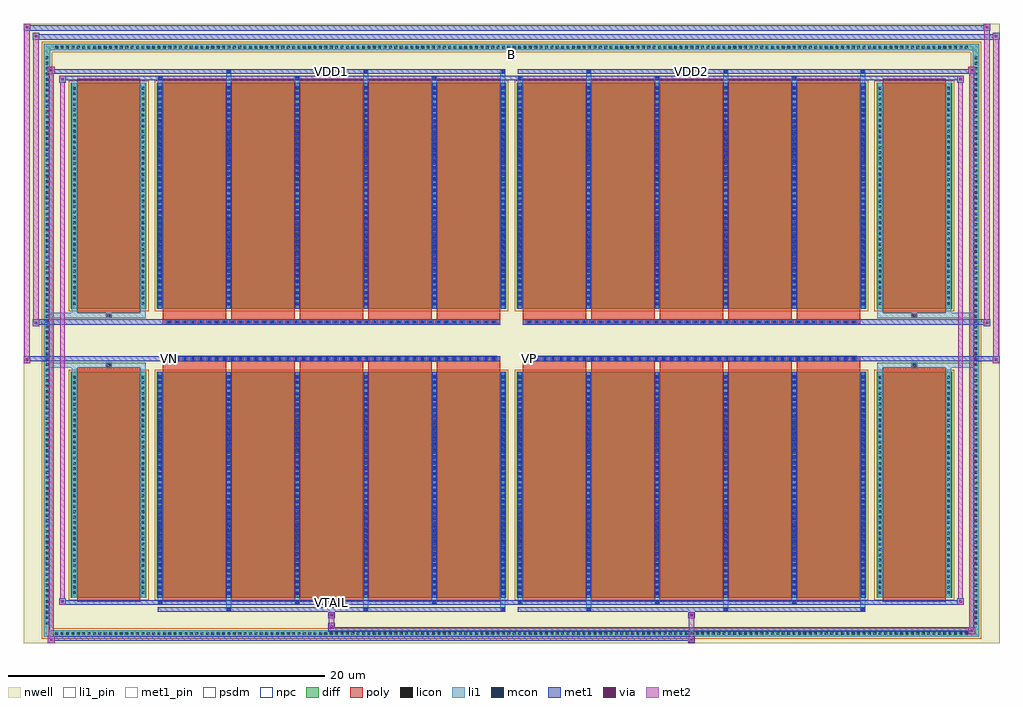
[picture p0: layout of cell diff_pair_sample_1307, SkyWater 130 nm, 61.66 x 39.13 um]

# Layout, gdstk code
import gdstk
lib = gdstk.Library(unit=1e-6, precision=5e-09)
def R(c, l, rs):  # rectangles x0, y0, x1, y1
    for r in rs: c.add(gdstk.rectangle(r[:2], r[2:], *l))
def A(c, l, x, y, w, h, nx, ny, dx, dy):  # array of equal rectangles
    R(c, l, [(x+i*dx, y+j*dy, x+i*dx+w, y+j*dy+h) for i in range(nx) for j in range(ny)])
def P(c, l, *ps):  # polygons
    for p in ps: c.add(gdstk.Polygon(p, *l))
nwell = (64, 20)
diff = (65, 20)
poly = (66, 20)
licon = (66, 44)
li1_pin = (67, 16)
li1 = (67, 20)
mcon = (67, 44)
met1_pin = (68, 16)
met1 = (68, 20)
via = (68, 44)
met2 = (69, 20)
psdm = (94, 20)
npc = (95, 20)

diff_pair_sample_1307 = lib.new_cell('diff_pair_sample_1307')
R(diff_pair_sample_1307, nwell, [(-30.83,-19.13,30.83,20), (-28.15,-17.32,-0.01,-0.8), (0.01,-17.32,28.15,-0.8), (-28.15,0.8,-0.01,17.32), (0.01,0.8,28.15,17.32)])
A(diff_pair_sample_1307, diff, -28.935, -18.73, 0.41, 0.41, 170, 2, 0.34, 37.05)
A(diff_pair_sample_1307, diff, -29.56, -18.055, 0.41, 0.41, 1, 106, 0, 0.34)
A(diff_pair_sample_1307, diff, 29.15, -18.055, 0.41, 0.41, 1, 106, 0, 0.34)
R(diff_pair_sample_1307, diff, [(-28.935,-18.73,28.935,-18.32), (-29.56,-18.055,-29.15,18.055), (29.15,-18.055,29.56,18.055), (-27.84,-16.275,-23.06,-1.985), (-22.42,-16.275,-0.32,-1.985), (0.32,-16.275,22.42,-1.985), (23.06,-16.275,27.84,-1.985), (-27.84,1.985,-23.06,16.275), (-22.42,1.985,-0.32,16.275), (0.32,1.985,22.42,16.275), (23.06,1.985,27.84,16.275), (-28.935,18.32,28.935,18.73)])
P(diff_pair_sample_1307, diff, [(29.56,18.73),(-29.56,18.73),(-29.56,-18.32),(-29.15,-18.32),(-29.15,18.32),(29.15,18.32),(29.15,-18.32),(-29.15,-18.32),(-29.56,-18.32),(-29.56,-18.73),(29.56,-18.73)])
A(diff_pair_sample_1307, poly, -22.03, -16.525, 4, 14.79, 5, 2, 4.33, 18.26)
A(diff_pair_sample_1307, poly, 0.71, -16.525, 4, 14.79, 5, 2, 4.33, 18.26)
A(diff_pair_sample_1307, poly, -22.03, -1.735, 4, 0.405, 5, 2, 4.33, 3.065)
A(diff_pair_sample_1307, poly, 0.71, -1.735, 4, 0.405, 5, 2, 4.33, 3.065)
A(diff_pair_sample_1307, poly, -21.785, -1.33, 0.33, 0.33, 42, 2, 0.5, 2.33)
A(diff_pair_sample_1307, poly, 0.955, -1.33, 0.33, 0.33, 42, 2, 0.5, 2.33)
R(diff_pair_sample_1307, poly, [(-27.45,-16.525,-23.45,-1.735), (23.45,-16.525,27.45,-1.735), (-25.615,-1.735,-25.285,-1.405), (-25.615,-1.735,-25.285,-1.405), (25.285,-1.735,25.615,-1.405), (25.285,-1.735,25.615,-1.405), (-22.03,-1.33,-0.71,-1), (0.71,-1.33,22.03,-1), (-22.03,1,-0.71,1.33), (0.71,1,22.03,1.33), (-25.615,1.405,-25.285,1.735), (-25.615,1.405,-25.285,1.735), (25.285,1.405,25.615,1.735), (25.285,1.405,25.615,1.735), (-27.45,1.735,-23.45,16.525), (23.45,1.735,27.45,16.525)])
A(diff_pair_sample_1307, licon, -28.815, -18.61, 0.17, 0.17, 170, 2, 0.34, 37.05)
A(diff_pair_sample_1307, licon, -29.44, -17.935, 0.17, 0.17, 1, 106, 0, 0.34)
A(diff_pair_sample_1307, licon, 29.27, -17.935, 0.17, 0.17, 1, 106, 0, 0.34)
A(diff_pair_sample_1307, licon, -27.7, -16.015, 0.17, 0.17, 1, 41, 0, 0.34)
A(diff_pair_sample_1307, licon, -23.37, -16.015, 0.17, 0.17, 1, 41, 0, 0.34)
A(diff_pair_sample_1307, licon, -22.28, -16.015, 0.17, 0.17, 6, 41, 4.33, 0.34)
A(diff_pair_sample_1307, licon, 0.46, -16.015, 0.17, 0.17, 6, 41, 4.33, 0.34)
A(diff_pair_sample_1307, licon, 23.2, -16.015, 0.17, 0.17, 1, 41, 0, 0.34)
A(diff_pair_sample_1307, licon, 27.53, -16.015, 0.17, 0.17, 1, 41, 0, 0.34)
A(diff_pair_sample_1307, licon, -21.705, -1.25, 0.17, 0.17, 42, 2, 0.5, 2.33)
A(diff_pair_sample_1307, licon, 1.035, -1.25, 0.17, 0.17, 42, 2, 0.5, 2.33)
A(diff_pair_sample_1307, licon, -27.7, 2.245, 0.17, 0.17, 1, 41, 0, 0.34)
A(diff_pair_sample_1307, licon, -23.37, 2.245, 0.17, 0.17, 1, 41, 0, 0.34)
A(diff_pair_sample_1307, licon, -22.28, 2.245, 0.17, 0.17, 6, 41, 4.33, 0.34)
A(diff_pair_sample_1307, licon, 0.46, 2.245, 0.17, 0.17, 6, 41, 4.33, 0.34)
A(diff_pair_sample_1307, licon, 23.2, 2.245, 0.17, 0.17, 1, 41, 0, 0.34)
A(diff_pair_sample_1307, licon, 27.53, 2.245, 0.17, 0.17, 1, 41, 0, 0.34)
R(diff_pair_sample_1307, licon, [(-25.535,-1.655,-25.365,-1.485), (25.365,-1.655,25.535,-1.485), (-25.535,1.485,-25.365,1.655), (25.365,1.485,25.535,1.655)])
R(diff_pair_sample_1307, li1_pin, [(-0.25,17.82,0.25,18.32)])
A(diff_pair_sample_1307, li1, -28.895, -18.69, 0.33, 0.33, 170, 2, 0.34, 37.05)
A(diff_pair_sample_1307, li1, -29.52, -18.015, 0.33, 0.33, 1, 106, 0, 0.34)
A(diff_pair_sample_1307, li1, 29.19, -18.015, 0.33, 0.33, 1, 106, 0, 0.34)
A(diff_pair_sample_1307, li1, -18.03, -17.08, 0.33, 0.805, 3, 2, 8.66, 33.355)
A(diff_pair_sample_1307, li1, -17.95, -17.08, 0.17, 0.17, 3, 2, 8.66, 33.99)
A(diff_pair_sample_1307, li1, 4.71, -17.08, 0.33, 0.805, 3, 2, 8.66, 33.355)
A(diff_pair_sample_1307, li1, 4.79, -17.08, 0.17, 0.17, 3, 2, 8.66, 33.99)
A(diff_pair_sample_1307, li1, -22.36, -16.65, 0.33, 0.375, 3, 2, 8.66, 32.925)
A(diff_pair_sample_1307, li1, -22.28, -16.65, 0.17, 0.17, 3, 2, 8.66, 33.13)
A(diff_pair_sample_1307, li1, 0.38, -16.65, 0.33, 0.375, 3, 2, 8.66, 32.925)
A(diff_pair_sample_1307, li1, 0.46, -16.65, 0.17, 0.17, 3, 2, 8.66, 33.13)
A(diff_pair_sample_1307, li1, -22.36, -16.275, 0.33, 14.29, 6, 2, 4.33, 18.26)
A(diff_pair_sample_1307, li1, 0.38, -16.275, 0.33, 14.29, 6, 2, 4.33, 18.26)
A(diff_pair_sample_1307, li1, -27.78, -16.095, 0.33, 0.33, 1, 41, 0, 0.34)
A(diff_pair_sample_1307, li1, -23.45, -16.095, 0.33, 0.33, 1, 41, 0, 0.34)
A(diff_pair_sample_1307, li1, -22.36, -16.095, 0.33, 0.33, 6, 41, 4.33, 0.34)
A(diff_pair_sample_1307, li1, 0.38, -16.095, 0.33, 0.33, 6, 41, 4.33, 0.34)
A(diff_pair_sample_1307, li1, 23.12, -16.095, 0.33, 0.33, 1, 41, 0, 0.34)
A(diff_pair_sample_1307, li1, 27.45, -16.095, 0.33, 0.33, 1, 41, 0, 0.34)
A(diff_pair_sample_1307, li1, -22.28, -16.055, 0.17, 0.17, 6, 39, 4.33, 0.36)
A(diff_pair_sample_1307, li1, -22.28, -16.055, 0.17, 13.85, 6, 2, 4.33, 18.26)
A(diff_pair_sample_1307, li1, 0.46, -16.055, 0.17, 0.17, 6, 39, 4.33, 0.36)
A(diff_pair_sample_1307, li1, 0.46, -16.055, 0.17, 13.85, 6, 2, 4.33, 18.26)
A(diff_pair_sample_1307, li1, -21.785, -1.33, 0.33, 0.33, 42, 2, 0.5, 2.33)
A(diff_pair_sample_1307, li1, 0.955, -1.33, 0.33, 0.33, 42, 2, 0.5, 2.33)
A(diff_pair_sample_1307, li1, -27.78, 2.165, 0.33, 0.33, 1, 41, 0, 0.34)
A(diff_pair_sample_1307, li1, -23.45, 2.165, 0.33, 0.33, 1, 41, 0, 0.34)
A(diff_pair_sample_1307, li1, -22.36, 2.165, 0.33, 0.33, 6, 41, 4.33, 0.34)
A(diff_pair_sample_1307, li1, 0.38, 2.165, 0.33, 0.33, 6, 41, 4.33, 0.34)
A(diff_pair_sample_1307, li1, 23.12, 2.165, 0.33, 0.33, 1, 41, 0, 0.34)
A(diff_pair_sample_1307, li1, 27.45, 2.165, 0.33, 0.33, 1, 41, 0, 0.34)
A(diff_pair_sample_1307, li1, -22.28, 2.205, 0.17, 0.17, 6, 39, 4.33, 0.36)
A(diff_pair_sample_1307, li1, 0.46, 2.205, 0.17, 0.17, 6, 39, 4.33, 0.36)
R(diff_pair_sample_1307, li1, [(-29.56,-18.73,-29.15,-18.32), (-29.56,-18.73,-29.15,-18.32), (-29.15,-18.73,29.15,-18.32), (29.15,-18.73,29.56,-18.32), (29.15,-18.73,29.56,-18.32), (-29.56,-18.32,-29.15,18.32), (29.15,-18.32,29.56,18.32), (-27.78,-16.275,-27.45,-1.985), (-23.45,-16.275,-23.12,-1.985), (23.12,-16.275,23.45,-1.985), (27.45,-16.275,27.78,-1.985), (-27.78,-1.985,-27.45,-1.405), (-23.45,-1.985,-23.12,-1.405), (23.12,-1.985,23.45,-1.405), (27.45,-1.985,27.78,-1.405), (-29.56,-1.735,-25.615,-1.405), (-27.78,-1.735,-25.615,-1.405), (-25.615,-1.735,-25.285,-1.405), (-25.285,-1.735,-23.12,-1.405), (23.12,-1.735,25.285,-1.405), (25.285,-1.735,25.615,-1.405), (25.285,-1.735,29.56,-1.405), (25.615,-1.735,27.78,-1.405), (-29.56,1.405,-25.615,1.735), (-27.78,1.405,-25.615,1.735), (-27.78,1.405,-27.45,1.985), (-25.615,1.405,-25.285,1.735), (-25.285,1.405,-23.12,1.735), (-23.45,1.405,-23.12,1.985), (23.12,1.405,25.285,1.735), (23.12,1.405,23.45,1.985), (25.285,1.405,25.615,1.735), (25.285,1.405,29.56,1.735), (25.615,1.405,27.78,1.735), (27.45,1.405,27.78,1.985), (-27.78,1.985,-27.45,16.275), (-23.45,1.985,-23.12,16.275), (23.12,1.985,23.45,16.275), (27.45,1.985,27.78,16.275), (-29.56,18.32,-29.15,18.73), (-29.56,18.32,-29.15,18.73), (-29.15,18.32,29.15,18.73), (29.15,18.32,29.56,18.73), (29.15,18.32,29.56,18.73)])
A(diff_pair_sample_1307, mcon, -17.95, -17.08, 0.17, 0.17, 3, 2, 8.66, 33.99)
A(diff_pair_sample_1307, mcon, 4.79, -17.08, 0.17, 0.17, 3, 2, 8.66, 33.99)
A(diff_pair_sample_1307, mcon, -22.28, -16.65, 0.17, 0.17, 3, 2, 8.66, 33.13)
A(diff_pair_sample_1307, mcon, 0.46, -16.65, 0.17, 0.17, 3, 2, 8.66, 33.13)
A(diff_pair_sample_1307, mcon, -22.28, -16.055, 0.17, 0.17, 6, 39, 4.33, 0.36)
A(diff_pair_sample_1307, mcon, 0.46, -16.055, 0.17, 0.17, 6, 39, 4.33, 0.36)
A(diff_pair_sample_1307, mcon, -21.705, -1.25, 0.17, 0.17, 42, 2, 0.5, 2.33)
A(diff_pair_sample_1307, mcon, 1.035, -1.25, 0.17, 0.17, 42, 2, 0.5, 2.33)
A(diff_pair_sample_1307, mcon, -22.28, 2.205, 0.17, 0.17, 6, 39, 4.33, 0.36)
A(diff_pair_sample_1307, mcon, 0.46, 2.205, 0.17, 0.17, 6, 39, 4.33, 0.36)
R(diff_pair_sample_1307, met1_pin, [(-11.505,-16.69,-11.235,-16.42), (-21.755,-1.29,-21.485,-1.02), (0.985,-1.29,1.255,-1.02), (-11.505,16.87,-11.235,17.14), (11.235,16.87,11.505,17.14)])
A(diff_pair_sample_1307, met1, -18.01, -17.14, 0.29, 0.29, 3, 2, 8.66, 33.99)
A(diff_pair_sample_1307, met1, 4.73, -17.14, 0.29, 0.29, 3, 2, 8.66, 33.99)
A(diff_pair_sample_1307, met1, -22.34, -16.71, 0.29, 0.29, 3, 2, 8.66, 33.13)
A(diff_pair_sample_1307, met1, 0.4, -16.71, 0.29, 0.29, 3, 2, 8.66, 33.13)
A(diff_pair_sample_1307, met1, -22.34, -16.275, 0.29, 14.29, 6, 2, 4.33, 18.26)
A(diff_pair_sample_1307, met1, 0.4, -16.275, 0.29, 14.29, 6, 2, 4.33, 18.26)
A(diff_pair_sample_1307, met1, -22.34, -16.115, 0.29, 0.29, 6, 39, 4.33, 0.36)
A(diff_pair_sample_1307, met1, 0.4, -16.115, 0.29, 0.29, 6, 39, 4.33, 0.36)
A(diff_pair_sample_1307, met1, -21.765, -1.31, 0.29, 0.29, 42, 2, 0.5, 2.33)
A(diff_pair_sample_1307, met1, 0.975, -1.31, 0.29, 0.29, 42, 2, 0.5, 2.33)
A(diff_pair_sample_1307, met1, -22.34, 2.145, 0.29, 0.29, 6, 39, 4.33, 0.36)
A(diff_pair_sample_1307, met1, 0.4, 2.145, 0.29, 0.29, 6, 39, 4.33, 0.36)
R(diff_pair_sample_1307, met1, [(-29.29,-19.13,-28.86,-18.7), (11.155,-19.13,11.585,-18.7), (-29.29,-18.99,11.585,-18.7), (28.86,-18.56,29.29,-18.13), (-11.585,-18.42,29.29,-18.13), (-11.585,-18.28,-11.155,-17.85), (-11.585,-17.57,-11.155,-17.14), (11.155,-17.57,11.585,-17.14), (-22.34,-17.14,-0.4,-16.85), (0.4,-17.14,22.34,-16.85), (-28.58,-16.71,-28.15,-16.28), (-28.58,-16.71,-22.34,-16.42), (-22.34,-16.71,-0.4,-16.42), (-0.4,-16.71,0.4,-16.42), (0.4,-16.71,22.34,-16.42), (22.34,-16.71,28.58,-16.42), (28.15,-16.71,28.58,-16.28), (-30.83,-1.43,-30.4,-1), (30.4,-1.43,30.83,-1), (-30.83,-1.33,-0.71,-1), (-22.03,-1.33,-0.71,-1), (0.71,-1.33,22.03,-1), (0.71,-1.33,30.83,-1), (-30.26,0.9,-29.83,1.33), (29.83,0.9,30.26,1.33), (-30.26,1,-22.03,1.33), (-22.03,1,-0.71,1.33), (0.71,1,22.03,1.33), (22.03,1,30.26,1.33), (-28.58,16.28,-28.15,16.71), (28.15,16.28,28.58,16.71), (-28.58,16.42,-22.34,16.71), (-22.34,16.42,-0.4,16.71), (-0.4,16.42,0.4,16.71), (0.4,16.42,22.34,16.71), (22.34,16.42,28.58,16.71), (-29.29,16.85,-28.86,17.28), (-29.29,16.85,-22.34,17.14), (-22.34,16.85,-0.4,17.14), (0.4,16.85,22.34,17.14), (22.34,16.85,29.29,17.14), (28.86,16.85,29.29,17.28), (-30.26,19,-29.83,19.43), (-30.26,19,-28.15,19.33), (-28.15,19,28.15,19.33), (28.15,19,30.83,19.33), (30.4,19,30.83,19.43), (-30.83,19.57,-30.4,20), (-30.83,19.57,-28.15,19.9), (-28.15,19.57,28.15,19.9), (28.15,19.57,30.26,19.9), (29.83,19.57,30.26,20)])
R(diff_pair_sample_1307, via, [(-29.15,-18.99,-29,-18.84), (11.295,-18.99,11.445,-18.84), (29,-18.42,29.15,-18.27), (-11.445,-18.14,-11.295,-17.99), (-11.445,-17.43,-11.295,-17.28), (11.295,-17.43,11.445,-17.28), (-28.44,-16.57,-28.29,-16.42), (28.29,-16.57,28.44,-16.42), (-30.69,-1.29,-30.54,-1.14), (30.54,-1.29,30.69,-1.14), (-30.12,1.04,-29.97,1.19), (29.97,1.04,30.12,1.19), (-28.44,16.42,-28.29,16.57), (28.29,16.42,28.44,16.57), (-29.15,16.99,-29,17.14), (29,16.99,29.15,17.14), (-30.12,19.14,-29.97,19.29), (30.54,19.14,30.69,19.29), (-30.69,19.71,-30.54,19.86), (29.97,19.71,30.12,19.86)])
R(diff_pair_sample_1307, met2, [(-29.29,-19.13,-28.86,-18.7), (-29.22,-19.13,-28.93,17.28), (-28.93,-19.13,-28.86,-18.7), (-29.24,-19.08,-28.91,-18.75), (11.205,-19.08,11.535,-18.75), (11.205,-18.75,11.535,-17.52), (28.86,-18.56,29.29,-18.13), (28.93,-18.56,29.22,17.28), (29.22,-18.56,29.29,-18.13), (28.91,-18.51,29.24,-18.18), (-11.535,-18.23,-11.205,-17.9), (-11.535,-17.9,-11.205,-17.52), (-11.535,-17.52,-11.205,-17.19), (11.205,-17.52,11.535,-17.19), (-28.58,-16.71,-28.15,-16.28), (-28.51,-16.71,-28.22,16.71), (-28.22,-16.71,-28.15,-16.28), (28.15,-16.71,28.58,-16.28), (28.22,-16.71,28.51,16.71), (28.51,-16.71,28.58,-16.28), (-28.53,-16.66,-28.2,-16.33), (28.2,-16.66,28.53,-16.33), (-30.83,-1.43,-30.4,-1), (-30.78,-1.43,-30.45,20), (-30.45,-1.43,-30.4,-1), (30.4,-1.43,30.83,-1), (30.45,-1.43,30.78,19.43), (30.78,-1.43,30.83,-1), (-30.78,-1.38,-30.45,-1.05), (30.45,-1.38,30.78,-1.05), (-30.26,0.9,-29.83,1.33), (-30.21,0.9,-29.88,19.43), (-29.88,0.9,-29.83,1.33), (29.83,0.9,30.26,1.33), (29.88,0.9,30.21,20), (30.21,0.9,30.26,1.33), (-30.21,0.95,-29.88,1.28), (29.88,0.95,30.21,1.28), (-28.58,16.28,-28.15,16.71), (-28.22,16.28,-28.15,16.71), (28.15,16.28,28.58,16.71), (28.51,16.28,28.58,16.71), (-28.53,16.33,-28.2,16.66), (28.2,16.33,28.53,16.66), (-29.29,16.85,-28.86,17.28), (-28.93,16.85,-28.86,17.28), (28.86,16.85,29.29,17.28), (29.22,16.85,29.29,17.28), (-29.24,16.9,-28.91,17.23), (28.91,16.9,29.24,17.23), (-30.26,19,-29.83,19.43), (-29.88,19,-29.83,19.43), (30.4,19,30.83,19.43), (30.78,19,30.83,19.43), (-30.21,19.05,-29.88,19.38), (30.45,19.05,30.78,19.38), (-30.83,19.57,-30.4,20), (-30.45,19.57,-30.4,20), (29.83,19.57,30.26,20), (30.21,19.57,30.26,20), (-30.78,19.62,-30.45,19.95), (29.88,19.62,30.21,19.95)])
R(diff_pair_sample_1307, psdm, [(-27.97,-16.405,-22.93,-1.855), (-22.55,-16.405,-0.19,-1.855), (0.19,-16.405,22.55,-1.855), (22.93,-16.405,27.97,-1.855), (-27.97,1.855,-22.93,16.405), (-22.55,1.855,-0.19,16.405), (0.19,1.855,22.55,16.405), (22.93,1.855,27.97,16.405)])
P(diff_pair_sample_1307, psdm, [(29.69,18.86),(-29.69,18.86),(-29.69,-18.19),(-29.02,-18.19),(-29.02,18.19),(29.02,18.19),(29.02,-18.19),(-29.02,-18.19),(-29.69,-18.19),(-29.69,-18.86),(29.69,-18.86)])
A(diff_pair_sample_1307, npc, -21.805, -1.35, 0.37, 0.37, 42, 2, 0.5, 2.33)
A(diff_pair_sample_1307, npc, 0.935, -1.35, 0.37, 0.37, 42, 2, 0.5, 2.33)
R(diff_pair_sample_1307, npc, [(-25.635,-1.755,-25.265,-1.385), (25.265,-1.755,25.635,-1.385), (-21.805,-1.35,-20.935,-0.98), (-21.805,-1.35,-20.935,-0.98), (-21.305,-1.35,-20.435,-0.98), (-21.305,-1.35,-20.435,-0.98), (-20.805,-1.35,-19.935,-0.98), (-20.805,-1.35,-19.935,-0.98), (-20.305,-1.35,-19.435,-0.98), (-20.305,-1.35,-19.435,-0.98), (-19.805,-1.35,-18.935,-0.98), (-19.805,-1.35,-18.935,-0.98), (-19.305,-1.35,-18.435,-0.98), (-19.305,-1.35,-18.435,-0.98), (-18.805,-1.35,-17.935,-0.98), (-18.805,-1.35,-17.935,-0.98), (-18.305,-1.35,-17.435,-0.98), (-18.305,-1.35,-17.435,-0.98), (-17.805,-1.35,-16.935,-0.98), (-17.805,-1.35,-16.935,-0.98), (-17.305,-1.35,-16.435,-0.98), (-17.305,-1.35,-16.435,-0.98), (-16.805,-1.35,-15.935,-0.98), (-16.805,-1.35,-15.935,-0.98), (-16.305,-1.35,-15.435,-0.98), (-16.305,-1.35,-15.435,-0.98), (-15.805,-1.35,-14.935,-0.98), (-15.805,-1.35,-14.935,-0.98), (-15.305,-1.35,-14.435,-0.98), (-15.305,-1.35,-14.435,-0.98), (-14.805,-1.35,-13.935,-0.98), (-14.805,-1.35,-13.935,-0.98), (-14.305,-1.35,-13.435,-0.98), (-14.305,-1.35,-13.435,-0.98), (-13.805,-1.35,-12.935,-0.98), (-13.805,-1.35,-12.935,-0.98), (-13.305,-1.35,-12.435,-0.98), (-13.305,-1.35,-12.435,-0.98), (-12.805,-1.35,-11.935,-0.98), (-12.805,-1.35,-11.935,-0.98), (-12.305,-1.35,-11.435,-0.98), (-12.305,-1.35,-11.435,-0.98), (-11.805,-1.35,-10.935,-0.98), (-11.805,-1.35,-10.935,-0.98), (-11.305,-1.35,-10.435,-0.98), (-11.305,-1.35,-10.435,-0.98), (-10.805,-1.35,-9.935,-0.98), (-10.805,-1.35,-9.935,-0.98), (-10.305,-1.35,-9.435,-0.98), (-10.305,-1.35,-9.435,-0.98), (-9.805,-1.35,-8.935,-0.98), (-9.805,-1.35,-8.935,-0.98), (-9.305,-1.35,-8.435,-0.98), (-9.305,-1.35,-8.435,-0.98), (-8.805,-1.35,-7.935,-0.98), (-8.805,-1.35,-7.935,-0.98), (-8.305,-1.35,-7.435,-0.98), (-8.305,-1.35,-7.435,-0.98), (-7.805,-1.35,-6.935,-0.98), (-7.805,-1.35,-6.935,-0.98), (-7.305,-1.35,-6.435,-0.98), (-7.305,-1.35,-6.435,-0.98), (-6.805,-1.35,-5.935,-0.98), (-6.805,-1.35,-5.935,-0.98), (-6.305,-1.35,-5.435,-0.98), (-6.305,-1.35,-5.435,-0.98), (-5.805,-1.35,-4.935,-0.98), (-5.805,-1.35,-4.935,-0.98), (-5.305,-1.35,-4.435,-0.98), (-5.305,-1.35,-4.435,-0.98), (-4.805,-1.35,-3.935,-0.98), (-4.805,-1.35,-3.935,-0.98), (-4.305,-1.35,-3.435,-0.98), (-4.305,-1.35,-3.435,-0.98), (-3.805,-1.35,-2.935,-0.98), (-3.805,-1.35,-2.935,-0.98), (-3.305,-1.35,-2.435,-0.98), (-3.305,-1.35,-2.435,-0.98), (-2.805,-1.35,-1.935,-0.98), (-2.805,-1.35,-1.935,-0.98), (-2.305,-1.35,-1.435,-0.98), (-2.305,-1.35,-1.435,-0.98), (-1.805,-1.35,-0.935,-0.98), (-1.805,-1.35,-0.935,-0.98), (0.935,-1.35,1.805,-0.98), (0.935,-1.35,1.805,-0.98), (1.435,-1.35,2.305,-0.98), (1.435,-1.35,2.305,-0.98), (1.935,-1.35,2.805,-0.98), (1.935,-1.35,2.805,-0.98), (2.435,-1.35,3.305,-0.98), (2.435,-1.35,3.305,-0.98), (2.935,-1.35,3.805,-0.98), (2.935,-1.35,3.805,-0.98), (3.435,-1.35,4.305,-0.98), (3.435,-1.35,4.305,-0.98), (3.935,-1.35,4.805,-0.98), (3.935,-1.35,4.805,-0.98), (4.435,-1.35,5.305,-0.98), (4.435,-1.35,5.305,-0.98), (4.935,-1.35,5.805,-0.98), (4.935,-1.35,5.805,-0.98), (5.435,-1.35,6.305,-0.98), (5.435,-1.35,6.305,-0.98), (5.935,-1.35,6.805,-0.98), (5.935,-1.35,6.805,-0.98), (6.435,-1.35,7.305,-0.98), (6.435,-1.35,7.305,-0.98), (6.935,-1.35,7.805,-0.98), (6.935,-1.35,7.805,-0.98), (7.435,-1.35,8.305,-0.98), (7.435,-1.35,8.305,-0.98), (7.935,-1.35,8.805,-0.98), (7.935,-1.35,8.805,-0.98), (8.435,-1.35,9.305,-0.98), (8.435,-1.35,9.305,-0.98), (8.935,-1.35,9.805,-0.98), (8.935,-1.35,9.805,-0.98), (9.435,-1.35,10.305,-0.98), (9.435,-1.35,10.305,-0.98), (9.935,-1.35,10.805,-0.98), (9.935,-1.35,10.805,-0.98), (10.435,-1.35,11.305,-0.98), (10.435,-1.35,11.305,-0.98), (10.935,-1.35,11.805,-0.98), (10.935,-1.35,11.805,-0.98), (11.435,-1.35,12.305,-0.98), (11.435,-1.35,12.305,-0.98), (11.935,-1.35,12.805,-0.98), (11.935,-1.35,12.805,-0.98), (12.435,-1.35,13.305,-0.98), (12.435,-1.35,13.305,-0.98), (12.935,-1.35,13.805,-0.98), (12.935,-1.35,13.805,-0.98), (13.435,-1.35,14.305,-0.98), (13.435,-1.35,14.305,-0.98), (13.935,-1.35,14.805,-0.98), (13.935,-1.35,14.805,-0.98), (14.435,-1.35,15.305,-0.98), (14.435,-1.35,15.305,-0.98), (14.935,-1.35,15.805,-0.98), (14.935,-1.35,15.805,-0.98), (15.435,-1.35,16.305,-0.98), (15.435,-1.35,16.305,-0.98), (15.935,-1.35,16.805,-0.98), (15.935,-1.35,16.805,-0.98), (16.435,-1.35,17.305,-0.98), (16.435,-1.35,17.305,-0.98), (16.935,-1.35,17.805,-0.98), (16.935,-1.35,17.805,-0.98), (17.435,-1.35,18.305,-0.98), (17.435,-1.35,18.305,-0.98), (17.935,-1.35,18.805,-0.98), (17.935,-1.35,18.805,-0.98), (18.435,-1.35,19.305,-0.98), (18.435,-1.35,19.305,-0.98), (18.935,-1.35,19.805,-0.98), (18.935,-1.35,19.805,-0.98), (19.435,-1.35,20.305,-0.98), (19.435,-1.35,20.305,-0.98), (19.935,-1.35,20.805,-0.98), (19.935,-1.35,20.805,-0.98), (20.435,-1.35,21.305,-0.98), (20.435,-1.35,21.305,-0.98), (20.935,-1.35,21.805,-0.98), (20.935,-1.35,21.805,-0.98), (-21.805,0.98,-20.935,1.35), (-21.805,0.98,-20.935,1.35), (-21.305,0.98,-20.435,1.35), (-21.305,0.98,-20.435,1.35), (-20.805,0.98,-19.935,1.35), (-20.805,0.98,-19.935,1.35), (-20.305,0.98,-19.435,1.35), (-20.305,0.98,-19.435,1.35), (-19.805,0.98,-18.935,1.35), (-19.805,0.98,-18.935,1.35), (-19.305,0.98,-18.435,1.35), (-19.305,0.98,-18.435,1.35), (-18.805,0.98,-17.935,1.35), (-18.805,0.98,-17.935,1.35), (-18.305,0.98,-17.435,1.35), (-18.305,0.98,-17.435,1.35), (-17.805,0.98,-16.935,1.35), (-17.805,0.98,-16.935,1.35), (-17.305,0.98,-16.435,1.35), (-17.305,0.98,-16.435,1.35), (-16.805,0.98,-15.935,1.35), (-16.805,0.98,-15.935,1.35), (-16.305,0.98,-15.435,1.35), (-16.305,0.98,-15.435,1.35), (-15.805,0.98,-14.935,1.35), (-15.805,0.98,-14.935,1.35), (-15.305,0.98,-14.435,1.35), (-15.305,0.98,-14.435,1.35), (-14.805,0.98,-13.935,1.35), (-14.805,0.98,-13.935,1.35), (-14.305,0.98,-13.435,1.35), (-14.305,0.98,-13.435,1.35), (-13.805,0.98,-12.935,1.35), (-13.805,0.98,-12.935,1.35), (-13.305,0.98,-12.435,1.35), (-13.305,0.98,-12.435,1.35), (-12.805,0.98,-11.935,1.35), (-12.805,0.98,-11.935,1.35), (-12.305,0.98,-11.435,1.35), (-12.305,0.98,-11.435,1.35), (-11.805,0.98,-10.935,1.35), (-11.805,0.98,-10.935,1.35), (-11.305,0.98,-10.435,1.35), (-11.305,0.98,-10.435,1.35), (-10.805,0.98,-9.935,1.35), (-10.805,0.98,-9.935,1.35), (-10.305,0.98,-9.435,1.35), (-10.305,0.98,-9.435,1.35), (-9.805,0.98,-8.935,1.35), (-9.805,0.98,-8.935,1.35), (-9.305,0.98,-8.435,1.35), (-9.305,0.98,-8.435,1.35), (-8.805,0.98,-7.935,1.35), (-8.805,0.98,-7.935,1.35), (-8.305,0.98,-7.435,1.35), (-8.305,0.98,-7.435,1.35), (-7.805,0.98,-6.935,1.35), (-7.805,0.98,-6.935,1.35), (-7.305,0.98,-6.435,1.35), (-7.305,0.98,-6.435,1.35), (-6.805,0.98,-5.935,1.35), (-6.805,0.98,-5.935,1.35), (-6.305,0.98,-5.435,1.35), (-6.305,0.98,-5.435,1.35), (-5.805,0.98,-4.935,1.35), (-5.805,0.98,-4.935,1.35), (-5.305,0.98,-4.435,1.35), (-5.305,0.98,-4.435,1.35), (-4.805,0.98,-3.935,1.35), (-4.805,0.98,-3.935,1.35), (-4.305,0.98,-3.435,1.35), (-4.305,0.98,-3.435,1.35), (-3.805,0.98,-2.935,1.35), (-3.805,0.98,-2.935,1.35), (-3.305,0.98,-2.435,1.35), (-3.305,0.98,-2.435,1.35), (-2.805,0.98,-1.935,1.35), (-2.805,0.98,-1.935,1.35), (-2.305,0.98,-1.435,1.35), (-2.305,0.98,-1.435,1.35), (-1.805,0.98,-0.935,1.35), (-1.805,0.98,-0.935,1.35), (0.935,0.98,1.805,1.35), (0.935,0.98,1.805,1.35), (1.435,0.98,2.305,1.35), (1.435,0.98,2.305,1.35), (1.935,0.98,2.805,1.35), (1.935,0.98,2.805,1.35), (2.435,0.98,3.305,1.35), (2.435,0.98,3.305,1.35), (2.935,0.98,3.805,1.35), (2.935,0.98,3.805,1.35), (3.435,0.98,4.305,1.35), (3.435,0.98,4.305,1.35), (3.935,0.98,4.805,1.35), (3.935,0.98,4.805,1.35), (4.435,0.98,5.305,1.35), (4.435,0.98,5.305,1.35), (4.935,0.98,5.805,1.35), (4.935,0.98,5.805,1.35), (5.435,0.98,6.305,1.35), (5.435,0.98,6.305,1.35), (5.935,0.98,6.805,1.35), (5.935,0.98,6.805,1.35), (6.435,0.98,7.305,1.35), (6.435,0.98,7.305,1.35), (6.935,0.98,7.805,1.35), (6.935,0.98,7.805,1.35), (7.435,0.98,8.305,1.35), (7.435,0.98,8.305,1.35), (7.935,0.98,8.805,1.35), (7.935,0.98,8.805,1.35), (8.435,0.98,9.305,1.35), (8.435,0.98,9.305,1.35), (8.935,0.98,9.805,1.35), (8.935,0.98,9.805,1.35), (9.435,0.98,10.305,1.35), (9.435,0.98,10.305,1.35), (9.935,0.98,10.805,1.35), (9.935,0.98,10.805,1.35), (10.435,0.98,11.305,1.35), (10.435,0.98,11.305,1.35), (10.935,0.98,11.805,1.35), (10.935,0.98,11.805,1.35), (11.435,0.98,12.305,1.35), (11.435,0.98,12.305,1.35), (11.935,0.98,12.805,1.35), (11.935,0.98,12.805,1.35), (12.435,0.98,13.305,1.35), (12.435,0.98,13.305,1.35), (12.935,0.98,13.805,1.35), (12.935,0.98,13.805,1.35), (13.435,0.98,14.305,1.35), (13.435,0.98,14.305,1.35), (13.935,0.98,14.805,1.35), (13.935,0.98,14.805,1.35), (14.435,0.98,15.305,1.35), (14.435,0.98,15.305,1.35), (14.935,0.98,15.805,1.35), (14.935,0.98,15.805,1.35), (15.435,0.98,16.305,1.35), (15.435,0.98,16.305,1.35), (15.935,0.98,16.805,1.35), (15.935,0.98,16.805,1.35), (16.435,0.98,17.305,1.35), (16.435,0.98,17.305,1.35), (16.935,0.98,17.805,1.35), (16.935,0.98,17.805,1.35), (17.435,0.98,18.305,1.35), (17.435,0.98,18.305,1.35), (17.935,0.98,18.805,1.35), (17.935,0.98,18.805,1.35), (18.435,0.98,19.305,1.35), (18.435,0.98,19.305,1.35), (18.935,0.98,19.805,1.35), (18.935,0.98,19.805,1.35), (19.435,0.98,20.305,1.35), (19.435,0.98,20.305,1.35), (19.935,0.98,20.805,1.35), (19.935,0.98,20.805,1.35), (20.435,0.98,21.305,1.35), (20.435,0.98,21.305,1.35), (20.935,0.98,21.805,1.35), (20.935,0.98,21.805,1.35), (-25.635,1.385,-25.265,1.755), (25.265,1.385,25.635,1.755)])
diff_pair_sample_1307.add(gdstk.Label('VTAIL', (-11.37,-16.555), layer=68, texttype=5))
diff_pair_sample_1307.add(gdstk.Label('VN', (-21.62,-1.155), layer=68, texttype=5))
diff_pair_sample_1307.add(gdstk.Label('VP', (1.12,-1.155), layer=68, texttype=5))
diff_pair_sample_1307.add(gdstk.Label('B', (0,18.07), layer=67, texttype=5))
diff_pair_sample_1307.add(gdstk.Label('VDD2', (11.37,17.005), layer=68, texttype=5))
diff_pair_sample_1307.add(gdstk.Label('VDD1', (-11.37,17.005), layer=68, texttype=5))

lib.write_gds('diff_pair_sample_1307.gds')
